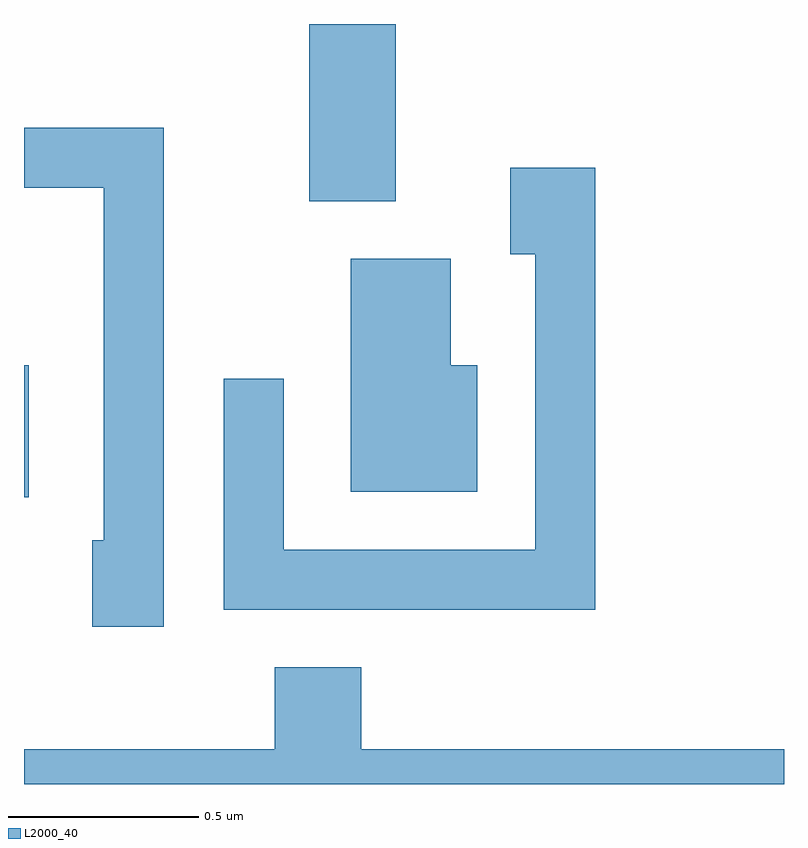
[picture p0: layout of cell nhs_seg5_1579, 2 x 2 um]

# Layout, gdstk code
import gdstk
lib = gdstk.Library(unit=1e-6, precision=1e-09)
def R(c, l, rs):  # rectangles x0, y0, x1, y1
    for r in rs: c.add(gdstk.rectangle(r[:2], r[2:], *l))
def P(c, l, *ps):  # polygons
    for p in ps: c.add(gdstk.Polygon(p, *l))
L2000_40 = (2000, 40)

nhs_seg5_1579 = lib.new_cell('nhs_seg5_1579')
R(nhs_seg5_1579, L2000_40, [(196.611,1468.826,196.624,1469.174), (197.361,1469.606,197.589,1470.072)])
P(nhs_seg5_1579, L2000_40, [(196.979,1469.799),(196.611,1469.799),(196.611,1469.641),(196.821,1469.641),(196.821,1468.714),(196.791,1468.714),(196.791,1468.486),(196.979,1468.486)],
  [(198.114,1469.694),(197.891,1469.694),(197.891,1469.466),(197.956,1469.466),(197.956,1468.689),(197.294,1468.689),(197.294,1469.138),(197.136,1469.138),(197.136,1468.531),(198.114,1468.531)],
  [(197.804,1469.174),(197.734,1469.174),(197.734,1469.454),(197.471,1469.454),(197.471,1468.841),(197.804,1468.841)],
  [(198.611,1468.164),(197.499,1468.164),(197.499,1468.379),(197.271,1468.379),(197.271,1468.164),(196.611,1468.164),(196.611,1468.072),(198.611,1468.072)])

lib.write_gds('nhs_seg5_1579.gds')
